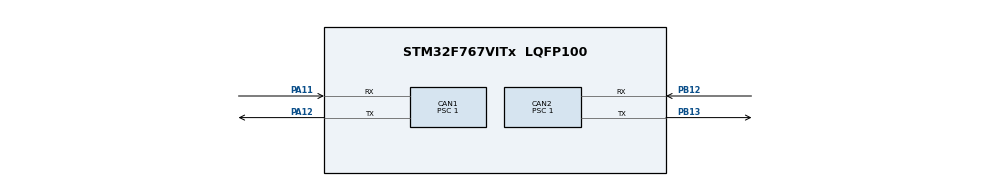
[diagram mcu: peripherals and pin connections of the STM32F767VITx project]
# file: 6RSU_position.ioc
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CAN1.BS1=CAN_BS1_14TQ
CAN1.CalculateBaudRate=1000000
CAN1.CalculateTimeBit=1000
CAN1.CalculateTimeQuantum=62.5
CAN1.Prescaler=1
CAN2.BS1=CAN_BS1_14TQ
CAN2.CalculateBaudRate=1000000
CAN2.CalculateTimeBit=1000
CAN2.CalculateTimeQuantum=62.5
CAN2.Prescaler=1
Mcu.Family=STM32F7
Mcu.Name=STM32F767VITx
Mcu.Package=LQFP100
NVIC.CAN1_RX0_IRQn=true\:0\:0\:false\:false\:true\:true\:true\:true
NVIC.CAN1_RX1_IRQn=true\:0\:0\:false\:false\:true\:true\:true\:true
NVIC.CAN1_SCE_IRQn=true\:0\:0\:false\:false\:true\:true\:true\:true
NVIC.CAN1_TX_IRQn=true\:0\:0\:false\:false\:true\:true\:true\:true
NVIC.CAN2_RX0_IRQn=true\:0\:0\:false\:false\:true\:true\:true\:true
NVIC.CAN2_RX1_IRQn=true\:0\:0\:false\:false\:true\:true\:true\:true
NVIC.CAN2_SCE_IRQn=true\:0\:0\:false\:false\:true\:true\:true\:true
NVIC.CAN2_TX_IRQn=true\:0\:0\:false\:false\:true\:true\:true\:true
NVIC.PriorityGroup=NVIC_PRIORITYGROUP_4
NVIC.TIM8_TRG_COM_TIM14_IRQn=true\:0\:0\:false\:false\:true\:true\:true\:true
PA11.Mode=CAN_Activate
PA11.Signal=CAN1_RX
PA12.Mode=CAN_Activate
PA12.Signal=CAN1_TX
PA13.Mode=Serial_Wire
PA13.Signal=SYS_JTMS-SWDIO
PA14.Mode=Serial_Wire
PA14.Signal=SYS_JTCK-SWCLK
PB12.Mode=CAN_Activate
PB12.Signal=CAN2_RX
PB13.Mode=CAN_Activate
PB13.Signal=CAN2_TX
PH0/OSC_IN.Mode=HSE-External-Oscillator
PH0/OSC_IN.Signal=RCC_OSC_IN
PH1/OSC_OUT.Mode=HSE-External-Oscillator
PH1/OSC_OUT.Signal=RCC_OSC_OUT
ProjectManager.HeapSize=0x200
ProjectManager.StackSize=0x400
ProjectManager.TargetToolchain=STM32CubeIDE
RCC.HSE_VALUE=25000000
RCC.HSI_VALUE=16000000
RCC.LSE_VALUE=32768
RCC.USBFreq_Value=96000000
RCC.VCOOutputFreq_Value=192000000
TIM14.Period=999
TIM14.Prescaler=15
VP_TIM14_VS_ClockSourceINT.Mode=Enable_Timer
board=custom

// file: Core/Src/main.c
/* USER CODE BEGIN Header */
/**
  ******************************************************************************
  * @file           : main.c
  * @brief          : Main program body
  ******************************************************************************
  * @attention
  *
  * Copyright (c) 2024 STMicroelectronics.
  * All rights reserved.
  *
  * This software is licensed under terms that can be found in the LICENSE file
  * in the root directory of this software component.
  * If no LICENSE file comes with this software, it is provided AS-IS.
  *
  ******************************************************************************
  */
/* USER CODE END Header */
#include "main.h"
/* USER CODE BEGIN Includes */
#include "CO_app_STM32.h"
#include "CANopen.h"
#include "../CANopenNode/301/CO_SDOclient.h"
#include "../CANopenNode/301/CO_NMT_Heartbeat.h"
#include "../CANopenNode/301/CO_PDO.h"
#include"OD.h"
#include"math.h"

/* USER CODE END Includes */

CAN_HandleTypeDef hcan1;
CAN_HandleTypeDef hcan2;

TIM_HandleTypeDef htim14;

void SystemClock_Config(void);
static void MPU_Initialize(void);
static void MPU_Config(void);
static void MX_GPIO_Init(void);
static void MX_CAN1_Init(void);
static void MX_CAN2_Init(void);
static void MX_TIM14_Init(void);

/* USER CODE BEGIN 0 */
CO_SDO_abortCode_t read_SDO(CO_SDOclient_t *SDO_C, uint8_t nodeId,
                            uint16_t index, uint8_t subIndex,
                            uint8_t *buf, size_t bufSize, size_t *readSize)
{
    CO_SDO_return_t SDO_ret;

    // setup client (this can be skipped, if remote device don't change)
    SDO_ret = CO_SDOclient_setup(SDO_C,
                                 CO_CAN_ID_SDO_CLI + nodeId,
                                 CO_CAN_ID_SDO_SRV + nodeId,
                                 nodeId);
    if (SDO_ret != CO_SDO_RT_ok_communicationEnd) {
        return CO_SDO_AB_GENERAL;
    }

    // initiate upload
    SDO_ret = CO_SDOclientUploadInitiate(SDO_C, index, subIndex, 1000, false);
    if (SDO_ret != CO_SDO_RT_ok_communicationEnd) {
        return CO_SDO_AB_GENERAL;
    }

    // upload data
    do {
        uint32_t timeDifference_us = 10000;
        CO_SDO_abortCode_t abortCode = CO_SDO_AB_NONE;

        SDO_ret = CO_SDOclientUpload(SDO_C,
                                     timeDifference_us,
                                     false,
                                     &abortCode,
                                     NULL, NULL, NULL);
        if (SDO_ret < 0) {
            return abortCode;
        }

        HAL_Delay(1);
    } while(SDO_ret > 0);

    // copy data to the user buffer (for long data function must be called
    // several times inside the loop)
    *readSize = CO_SDOclientUploadBufRead(SDO_C, buf, bufSize);

    return CO_SDO_AB_NONE;
}

CO_SDO_abortCode_t write_SDO(CO_SDOclient_t *SDO_C, uint8_t nodeId,
                             uint16_t index, uint8_t subIndex,
                             uint8_t *data, size_t dataSize)
{
    CO_SDO_return_t SDO_ret;
    bool_t bufferPartial = false;

    // setup client (this can be skipped, if remote device is the same)
    SDO_ret = CO_SDOclient_setup(SDO_C,
                                 CO_CAN_ID_SDO_CLI + nodeId,
                                 CO_CAN_ID_SDO_SRV + nodeId,
                                 nodeId);
    if (SDO_ret != CO_SDO_RT_ok_communicationEnd) {
        return -1;
    }

    // initiate download
    SDO_ret = CO_SDOclientDownloadInitiate(SDO_C, index, subIndex,
                                           dataSize, 1000, false);
    if (SDO_ret != CO_SDO_RT_ok_communicationEnd) {
        return -1;
    }

    // fill data
    size_t nWritten = CO_SDOclientDownloadBufWrite(SDO_C, data, dataSize);
    if (nWritten < dataSize) {
        bufferPartial = true;
        // If SDO Fifo buffer is too small, data can be refilled in the loop.
    }

    //download data
    do {
        uint32_t timeDifference_us = 10000;
        CO_SDO_abortCode_t abortCode = CO_SDO_AB_NONE;

        SDO_ret = CO_SDOclientDownload(SDO_C,
                                       timeDifference_us,
                                       false,
                                       bufferPartial,
                                       &abortCode,
                                       NULL, NULL);
        if (SDO_ret < 0) {
            return abortCode;
        }

        HAL_Delay(1);
    } while(SDO_ret > 0);

    return CO_SDO_AB_NONE;
}

/* USER CODE END 0 */

int main(void)
{

  /* MCU Configuration--------------------------------------------------------*/

  /* Reset of all peripherals, Initializes the Flash interface and the Systick. */
  HAL_Init();

  /* MPU Configuration--------------------------------------------------------*/
  MPU_Config();

  /* Configure the system clock */
  SystemClock_Config();

  /* Initialize all configured peripherals */
  MX_GPIO_Init();
  MX_CAN1_Init();
  MX_CAN2_Init();
  MX_TIM14_Init();
  /* USER CODE BEGIN 2 */
  CANopenNodeSTM32 canopenNodeSTM32;
    canopenNodeSTM32.CANHandle = &hcan2;
    canopenNodeSTM32.HWInitFunction = MX_CAN2_Init;
    canopenNodeSTM32.timerHandle = &htim14;
    canopenNodeSTM32.desiredNodeID = 3;
    canopenNodeSTM32.baudrate = 1000;
    canopen_app_init(&canopenNodeSTM32);

    uint16_t tmp1 = 0x80;
    uint16_t tmp2 = 0x00;
    uint16_t tmp3 = 0x06;
    uint16_t tmp4 = 0x07;
    uint16_t tmp5 = 0x0F;
    uint16_t tmp6 = 0x1F;

    uint8_t position_mode = 0x01;
    uint32_t profileVelocity = 4266666;
    int32_t targetposition = 4266666;

//node1(Gearbox1)...........................................................................................
		write_SDO(canopenNodeSTM32.canOpenStack->SDOclient , 1, 0x6060, 00, &position_mode, 1);
		HAL_Delay(10);
		write_SDO(canopenNodeSTM32.canOpenStack->SDOclient , 1, 0x607A	, 00, &targetposition, 4);
		HAL_Delay(10);
		write_SDO(canopenNodeSTM32.canOpenStack->SDOclient , 1, 0x6081	, 00, &profileVelocity, 4);
		HAL_Delay(10);

		write_SDO(canopenNodeSTM32.canOpenStack->SDOclient , 1, 0x6040, 00, &tmp1, 2);
		HAL_Delay(10);
		write_SDO(canopenNodeSTM32.canOpenStack->SDOclient , 1, 0x6040, 00, &tmp2, 2);
		HAL_Delay(10);
		write_SDO(canopenNodeSTM32.canOpenStack->SDOclient , 1, 0x6040, 00, &tmp3, 2);
		HAL_Delay(10);
		write_SDO(canopenNodeSTM32.canOpenStack->SDOclient , 1, 0x6040, 00, &tmp4, 2);
		HAL_Delay(10);
		write_SDO(canopenNodeSTM32.canOpenStack->SDOclient , 1, 0x6040, 00, &tmp5, 2);
		HAL_Delay(10);
		write_SDO(canopenNodeSTM32.canOpenStack->SDOclient , 1, 0x6040, 00, &tmp6, 2);
		HAL_Delay(10);

		write_SDO(canopenNodeSTM32.canOpenStack->SDOclient , 1, 0x6060, 00, &position_mode, 1);
		write_SDO(canopenNodeSTM32.canOpenStack->SDOclient , 1, 0x607A	, 00, &targetposition, 4);
		write_SDO(canopenNodeSTM32.canOpenStack->SDOclient , 1, 0x6081	, 00, &profileVelocity, 4);

//node2(Gearbox2)...........................................................................................
		write_SDO(canopenNodeSTM32.canOpenStack->SDOclient , 2, 0x6060, 00, &position_mode, 1);
		HAL_Delay(10);
		write_SDO(canopenNodeSTM32.canOpenStack->SDOclient , 2, 0x607A	, 00, &targetposition, 4);
		HAL_Delay(10);
		write_SDO(canopenNodeSTM32.canOpenStack->SDOclient , 2, 0x6081	, 00, &profileVelocity, 4);
		HAL_Delay(10);

		write_SDO(canopenNodeSTM32.canOpenStack->SDOclient , 2, 0x6040, 00, &tmp1, 2);
		HAL_Delay(10);
		write_SDO(canopenNodeSTM32.canOpenStack->SDOclient , 2, 0x6040, 00, &tmp2, 2);
		HAL_Delay(10);
		write_SDO(canopenNodeSTM32.canOpenStack->SDOclient , 2, 0x6040, 00, &tmp3, 2);
		HAL_Delay(10);
		write_SDO(canopenNodeSTM32.canOpenStack->SDOclient , 2, 0x6040, 00, &tmp4, 2);
		HAL_Delay(10);
		write_SDO(canopenNodeSTM32.canOpenStack->SDOclient , 2, 0x6040, 00, &tmp5, 2);
		HAL_Delay(10);
		write_SDO(canopenNodeSTM32.canOpenStack->SDOclient , 2, 0x6040, 00, &tmp6, 2);
		HAL_Delay(10);

		write_SDO(canopenNodeSTM32.canOpenStack->SDOclient , 2, 0x6060, 00, &position_mode, 1);
		write_SDO(canopenNodeSTM32.canOpenStack->SDOclient , 2, 0x607A, 00, &targetposition, 4);
		write_SDO(canopenNodeSTM32.canOpenStack->SDOclient , 2, 0x6081, 00, &profileVelocity, 4);

//node3(Gearbox3)...........................................................................................
		write_SDO(canopenNodeSTM32.canOpenStack->SDOclient , 3, 0x6060, 00, &position_mode, 1);
		HAL_Delay(10);
		write_SDO(canopenNodeSTM32.canOpenStack->SDOclient , 3, 0x607A	, 00, &targetposition, 4);
		HAL_Delay(10);
		write_SDO(canopenNodeSTM32.canOpenStack->SDOclient , 3, 0x6081	, 00, &profileVelocity, 4);
		HAL_Delay(10);

		write_SDO(canopenNodeSTM32.canOpenStack->SDOclient , 3, 0x6840, 00, &tmp1, 2);
		HAL_Delay(10);
		write_SDO(canopenNodeSTM32.canOpenStack->SDOclient , 3, 0x6840, 00, &tmp2, 2);
		HAL_Delay(10);
		write_SDO(canopenNodeSTM32.canOpenStack->SDOclient , 3, 0x6840, 00, &tmp3, 2);
		HAL_Delay(10);
		write_SDO(canopenNodeSTM32.canOpenStack->SDOclient , 3, 0x6840, 00, &tmp4, 2);
		HAL_Delay(10);
		write_SDO(canopenNodeSTM32.canOpenStack->SDOclient , 3, 0x6840, 00, &tmp5, 2);
		HAL_Delay(10);
		write_SDO(canopenNodeSTM32.canOpenStack->SDOclient , 3, 0x6840, 00, &tmp5, 2);

		write_SDO(canopenNodeSTM32.canOpenStack->SDOclient , 3, 0x6860, 00, &position_mode, 1);
		write_SDO(canopenNodeSTM32.canOpenStack->SDOclient , 3, 0x687A, 00, &targetposition, 4);
		write_SDO(canopenNodeSTM32.canOpenStack->SDOclient , 3, 0x6881, 00, &profileVelocity, 4);

//node4(Gearbox4)...........................................................................................
		write_SDO(canopenNodeSTM32.canOpenStack->SDOclient , 4, 0x6060, 00, &position_mode, 1);
		HAL_Delay(10);
		write_SDO(canopenNodeSTM32.canOpenStack->SDOclient , 4, 0x607A	, 00, &targetposition, 4);
		HAL_Delay(10);
		write_SDO(canopenNodeSTM32.canOpenStack->SDOclient , 4, 0x6081	, 00, &profileVelocity, 4);
		HAL_Delay(10);

        write_SDO(canopenNodeSTM32.canOpenStack->SDOclient , 4, 0x6040, 00, &tmp1, 2);
        HAL_Delay(10);
        write_SDO(canopenNodeSTM32.canOpenStack->SDOclient , 4, 0x6040, 00, &tmp2, 2);
        HAL_Delay(10);
        write_SDO(canopenNodeSTM32.canOpenStack->SDOclient , 4, 0x6040, 00, &tmp3, 2);
        HAL_Delay(10);
        write_SDO(canopenNodeSTM32.canOpenStack->SDOclient , 4, 0x6040, 00, &tmp4, 2);
        HAL_Delay(10);
        write_SDO(canopenNodeSTM32.canOpenStack->SDOclient , 4, 0x6040, 00, &tmp5, 2);
        HAL_Delay(10);
        write_SDO(canopenNodeSTM32.canOpenStack->SDOclient , 4, 0x6040, 00, &tmp6, 2);
        HAL_Delay(10);

        write_SDO(canopenNodeSTM32.canOpenStack->SDOclient , 4, 0x6060, 00, &position_mode, 1);
        write_SDO(canopenNodeSTM32.canOpenStack->SDOclient , 4, 0x607A	, 00, &targetposition, 4);
        write_SDO(canopenNodeSTM32.canOpenStack->SDOclient , 4, 0x6081	, 00, &profileVelocity, 4);

//node5(Gearbox5)...........................................................................................
		write_SDO(canopenNodeSTM32.canOpenStack->SDOclient , 5, 0x6060, 00, &position_mode, 1);
		HAL_Delay(10);
		write_SDO(canopenNodeSTM32.canOpenStack->SDOclient , 5, 0x607A	, 00, &targetposition, 4);
		HAL_Delay(10);
		write_SDO(canopenNodeSTM32.canOpenStack->SDOclient , 5, 0x6081	, 00, &profileVelocity, 4);
		HAL_Delay(10);

		write_SDO(canopenNodeSTM32.canOpenStack->SDOclient , 5, 0x6040, 00, &tmp1, 2);
		HAL_Delay(10);
		write_SDO(canopenNodeSTM32.canOpenStack->SDOclient , 5, 0x6040, 00, &tmp2, 2);
		HAL_Delay(10);
		write_SDO(canopenNodeSTM32.canOpenStack->SDOclient , 5, 0x6040, 00, &tmp3, 2);
		HAL_Delay(10);
		write_SDO(canopenNodeSTM32.canOpenStack->SDOclient , 5, 0x6040, 00, &tmp4, 2);
		HAL_Delay(10);
		write_SDO(canopenNodeSTM32.canOpenStack->SDOclient , 5, 0x6040, 00, &tmp5, 2);
		HAL_Delay(10);
		write_SDO(canopenNodeSTM32.canOpenStack->SDOclient , 5, 0x6040, 00, &tmp6, 2);
		HAL_Delay(10);

		write_SDO(canopenNodeSTM32.canOpenStack->SDOclient , 5, 0x6060, 00, &position_mode, 1);
		write_SDO(canopenNodeSTM32.canOpenStack->SDOclient , 5, 0x607A	, 00, &targetposition, 4);
		write_SDO(canopenNodeSTM32.canOpenStack->SDOclient , 5, 0x6081	, 00, &profileVelocity, 4);

//node6(Gearbox6)...........................................................................................
		write_SDO(canopenNodeSTM32.canOpenStack->SDOclient , 6, 0x6060, 00, &position_mode, 1);
		HAL_Delay(10);
		write_SDO(canopenNodeSTM32.canOpenStack->SDOclient , 6, 0x607A	, 00, &targetposition, 4);
		HAL_Delay(10);
		write_SDO(canopenNodeSTM32.canOpenStack->SDOclient , 6, 0x6081	, 00, &profileVelocity, 4);
		HAL_Delay(10);

		write_SDO(canopenNodeSTM32.canOpenStack->SDOclient , 6, 0x6040, 00, &tmp1, 2);
		HAL_Delay(10);
		write_SDO(canopenNodeSTM32.canOpenStack->SDOclient , 6, 0x6040, 00, &tmp2, 2);
		HAL_Delay(10);
		write_SDO(canopenNodeSTM32.canOpenStack->SDOclient , 6, 0x6040, 00, &tmp3, 2);
		HAL_Delay(10);
		write_SDO(canopenNodeSTM32.canOpenStack->SDOclient , 6, 0x6040, 00, &tmp4, 2);
		HAL_Delay(10);
		write_SDO(canopenNodeSTM32.canOpenStack->SDOclient , 6, 0x6040, 00, &tmp5, 2);
		HAL_Delay(10);
		write_SDO(canopenNodeSTM32.canOpenStack->SDOclient , 6, 0x6040, 00, &tmp6, 2);
		HAL_Delay(10);

		write_SDO(canopenNodeSTM32.canOpenStack->SDOclient , 6, 0x6060, 00, &position_mode, 1);
		write_SDO(canopenNodeSTM32.canOpenStack->SDOclient , 6, 0x607A	, 00, &targetposition, 4);
		write_SDO(canopenNodeSTM32.canOpenStack->SDOclient , 6, 0x6081	, 00, &profileVelocity, 4);

//    targetVelocity = 950;
    canopen_app_process();

  /* USER CODE END 2 */

  /* Infinite loop */
  while (1)
  {

  }
}

void SystemClock_Config(void)
{
  RCC_OscInitTypeDef RCC_OscInitStruct = {0};
  RCC_ClkInitTypeDef RCC_ClkInitStruct = {0};

  /** Configure the main internal regulator output voltage
  */
  __HAL_RCC_PWR_CLK_ENABLE();
  __HAL_PWR_VOLTAGESCALING_CONFIG(PWR_REGULATOR_VOLTAGE_SCALE3);

  /** Initializes the RCC Oscillators according to the specified parameters
  * in the RCC_OscInitTypeDef structure.
  */
  RCC_OscInitStruct.OscillatorType = RCC_OSCILLATORTYPE_HSI;
  RCC_OscInitStruct.HSIState = RCC_HSI_ON;
  RCC_OscInitStruct.HSICalibrationValue = RCC_HSICALIBRATION_DEFAULT;
  RCC_OscInitStruct.PLL.PLLState = RCC_PLL_NONE;
  if (HAL_RCC_OscConfig(&RCC_OscInitStruct) != HAL_OK)
  {
    Error_Handler();
  }

  /** Initializes the CPU, AHB and APB buses clocks
  */
  RCC_ClkInitStruct.ClockType = RCC_CLOCKTYPE_HCLK|RCC_CLOCKTYPE_SYSCLK
                              |RCC_CLOCKTYPE_PCLK1|RCC_CLOCKTYPE_PCLK2;
  RCC_ClkInitStruct.SYSCLKSource = RCC_SYSCLKSOURCE_HSI;
  RCC_ClkInitStruct.AHBCLKDivider = RCC_SYSCLK_DIV1;
  RCC_ClkInitStruct.APB1CLKDivider = RCC_HCLK_DIV1;
  RCC_ClkInitStruct.APB2CLKDivider = RCC_HCLK_DIV1;

  if (HAL_RCC_ClockConfig(&RCC_ClkInitStruct, FLASH_LATENCY_0) != HAL_OK)
  {
    Error_Handler();
  }
}

static void MX_CAN1_Init(void)
{

  hcan1.Instance = CAN1;
  hcan1.Init.Prescaler = 1;
  hcan1.Init.Mode = CAN_MODE_NORMAL;
  hcan1.Init.SyncJumpWidth = CAN_SJW_1TQ;
  hcan1.Init.TimeSeg1 = CAN_BS1_14TQ;
  hcan1.Init.TimeSeg2 = CAN_BS2_1TQ;
  hcan1.Init.TimeTriggeredMode = DISABLE;
  hcan1.Init.AutoBusOff = DISABLE;
  hcan1.Init.AutoWakeUp = DISABLE;
  hcan1.Init.AutoRetransmission = DISABLE;
  hcan1.Init.ReceiveFifoLocked = DISABLE;
  hcan1.Init.TransmitFifoPriority = DISABLE;
  if (HAL_CAN_Init(&hcan1) != HAL_OK)
  {
    Error_Handler();
  }

}

static void MX_CAN2_Init(void)
{

  hcan2.Instance = CAN2;
  hcan2.Init.Prescaler = 1;
  hcan2.Init.Mode = CAN_MODE_NORMAL;
  hcan2.Init.SyncJumpWidth = CAN_SJW_1TQ;
  hcan2.Init.TimeSeg1 = CAN_BS1_14TQ;
  hcan2.Init.TimeSeg2 = CAN_BS2_1TQ;
  hcan2.Init.TimeTriggeredMode = DISABLE;
  hcan2.Init.AutoBusOff = DISABLE;
  hcan2.Init.AutoWakeUp = DISABLE;
  hcan2.Init.AutoRetransmission = DISABLE;
  hcan2.Init.ReceiveFifoLocked = DISABLE;
  hcan2.Init.TransmitFifoPriority = DISABLE;
  if (HAL_CAN_Init(&hcan2) != HAL_OK)
  {
    Error_Handler();
  }

}

static void MX_TIM14_Init(void)
{

  htim14.Instance = TIM14;
  htim14.Init.Prescaler = 2;
  htim14.Init.CounterMode = TIM_COUNTERMODE_UP;
  htim14.Init.Period = 65535;
  htim14.Init.ClockDivision = TIM_CLOCKDIVISION_DIV1;
  htim14.Init.AutoReloadPreload = TIM_AUTORELOAD_PRELOAD_DISABLE;
  if (HAL_TIM_Base_Init(&htim14) != HAL_OK)
  {
    Error_Handler();
  }

}

static void MX_GPIO_Init(void)
{

  /* GPIO Ports Clock Enable */
  __HAL_RCC_GPIOH_CLK_ENABLE();
  __HAL_RCC_GPIOB_CLK_ENABLE();
  __HAL_RCC_GPIOA_CLK_ENABLE();

}

/* MPU Configuration */

void MPU_Config(void)
{
  MPU_Region_InitTypeDef MPU_InitStruct = {0};

  /* Disables the MPU */
  HAL_MPU_Disable();

  /** Initializes and configures the Region and the memory to be protected
  */
  MPU_InitStruct.Enable = MPU_REGION_ENABLE;
  MPU_InitStruct.Number = MPU_REGION_NUMBER0;
  MPU_InitStruct.BaseAddress = 0x0;
  MPU_InitStruct.Size = MPU_REGION_SIZE_4GB;
  MPU_InitStruct.SubRegionDisable = 0x87;
  MPU_InitStruct.TypeExtField = MPU_TEX_LEVEL0;
  MPU_InitStruct.AccessPermission = MPU_REGION_NO_ACCESS;
  MPU_InitStruct.DisableExec = MPU_INSTRUCTION_ACCESS_DISABLE;
  MPU_InitStruct.IsShareable = MPU_ACCESS_SHAREABLE;
  MPU_InitStruct.IsCacheable = MPU_ACCESS_NOT_CACHEABLE;
  MPU_InitStruct.IsBufferable = MPU_ACCESS_NOT_BUFFERABLE;

  HAL_MPU_ConfigRegion(&MPU_InitStruct);
  /* Enables the MPU */
  HAL_MPU_Enable(MPU_PRIVILEGED_DEFAULT);

}

void Error_Handler(void)
{
  __disable_irq();
  while (1)
  {
  }
}
